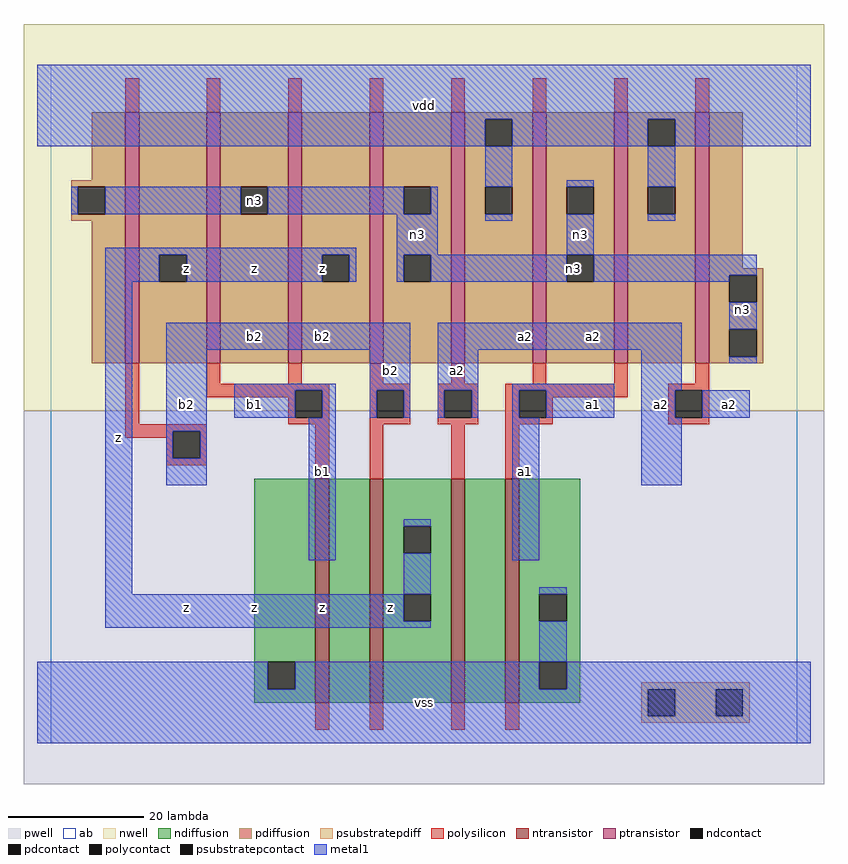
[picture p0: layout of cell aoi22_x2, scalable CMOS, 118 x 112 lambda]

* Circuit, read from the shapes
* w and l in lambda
.subckt aoi22_x2 a1 a2 b1 b2 n3 vdd vss z
M1 n1 b1 vss vss nfet w=33 l=2
M2 z b2 n1 vss nfet w=33 l=2
M3 n2 a2 z vss nfet w=33 l=2
M4 vss a1 n2 vss nfet w=33 l=2
M5 z b2 n3 n4 pfet w=37 l=2 m=2
M6 n3 b1 z n4 pfet w=37 l=2 m=2
M7 vdd a2 n3 n4 pfet w=37 l=2 m=2
M8 n3 a1 vdd n4 pfet w=37 l=2 m=2
.ends

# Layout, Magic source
magic
tech scmos
<< ab >>
rect 0 0 110 100
<< pwell >>
rect -4 -6 114 49
<< nwell >>
rect -4 49 114 106
<< polysilicon >>
rect 11 93 13 98
rect 23 93 25 98
rect 35 93 37 98
rect 47 93 49 98
rect 59 93 61 98
rect 71 93 73 98
rect 83 93 85 98
rect 95 93 97 98
rect 11 47 13 56
rect 23 53 25 56
rect 35 53 37 56
rect 47 53 49 56
rect 59 53 61 56
rect 71 53 73 56
rect 83 53 85 56
rect 95 53 97 56
rect 23 52 41 53
rect 23 51 36 52
rect 35 48 36 51
rect 40 48 41 52
rect 35 47 41 48
rect 11 46 23 47
rect 11 45 18 46
rect 17 42 18 45
rect 22 42 23 46
rect 17 41 23 42
rect 39 39 41 47
rect 47 52 53 53
rect 47 48 48 52
rect 52 48 53 52
rect 47 47 53 48
rect 57 52 63 53
rect 57 48 58 52
rect 62 48 63 52
rect 57 47 63 48
rect 67 52 85 53
rect 67 48 69 52
rect 73 51 85 52
rect 91 52 97 53
rect 73 48 74 51
rect 67 47 74 48
rect 91 48 92 52
rect 96 48 97 52
rect 91 47 97 48
rect 47 39 49 47
rect 59 39 61 47
rect 67 39 69 47
rect 39 2 41 6
rect 47 2 49 6
rect 59 2 61 6
rect 67 2 69 6
<< ndiffusion >>
rect 30 12 39 39
rect 30 8 32 12
rect 36 8 39 12
rect 30 6 39 8
rect 41 6 47 39
rect 49 32 59 39
rect 49 28 52 32
rect 56 28 59 32
rect 49 22 59 28
rect 49 18 52 22
rect 56 18 59 22
rect 49 6 59 18
rect 61 6 67 39
rect 69 22 78 39
rect 69 18 72 22
rect 76 18 78 22
rect 69 12 78 18
rect 69 8 72 12
rect 76 8 78 12
rect 69 6 78 8
<< pdiffusion >>
rect 6 83 11 93
rect 3 82 11 83
rect 3 78 4 82
rect 8 78 11 82
rect 3 77 11 78
rect 6 56 11 77
rect 13 72 23 93
rect 13 68 16 72
rect 20 68 23 72
rect 13 56 23 68
rect 25 82 35 93
rect 25 78 28 82
rect 32 78 35 82
rect 25 56 35 78
rect 37 72 47 93
rect 37 68 40 72
rect 44 68 47 72
rect 37 56 47 68
rect 49 82 59 93
rect 49 78 52 82
rect 56 78 59 82
rect 49 72 59 78
rect 49 68 52 72
rect 56 68 59 72
rect 49 56 59 68
rect 61 92 71 93
rect 61 88 64 92
rect 68 88 71 92
rect 61 82 71 88
rect 61 78 64 82
rect 68 78 71 82
rect 61 56 71 78
rect 73 82 83 93
rect 73 78 76 82
rect 80 78 83 82
rect 73 72 83 78
rect 73 68 76 72
rect 80 68 83 72
rect 73 56 83 68
rect 85 92 95 93
rect 85 88 88 92
rect 92 88 95 92
rect 85 82 95 88
rect 85 78 88 82
rect 92 78 95 82
rect 85 56 95 78
rect 97 70 102 93
rect 97 69 105 70
rect 97 65 100 69
rect 104 65 105 69
rect 97 61 105 65
rect 97 57 100 61
rect 104 57 105 61
rect 97 56 105 57
<< metal1 >>
rect -2 92 112 100
rect -2 88 64 92
rect 68 88 88 92
rect 92 88 112 92
rect 64 82 68 88
rect 3 78 4 82
rect 8 78 28 82
rect 32 78 52 82
rect 56 78 57 82
rect 8 72 45 73
rect 8 68 16 72
rect 20 68 40 72
rect 44 68 45 72
rect 51 72 57 78
rect 64 77 68 78
rect 76 82 80 83
rect 76 72 80 78
rect 88 82 92 88
rect 88 77 92 78
rect 51 68 52 72
rect 56 68 76 72
rect 80 69 104 72
rect 80 68 100 69
rect 8 22 12 68
rect 17 58 53 62
rect 17 46 23 58
rect 27 52 42 53
rect 27 48 36 52
rect 40 48 42 52
rect 47 52 53 58
rect 47 48 48 52
rect 52 48 53 52
rect 57 58 93 62
rect 57 52 63 58
rect 57 48 58 52
rect 62 48 63 52
rect 68 52 83 53
rect 68 48 69 52
rect 73 48 83 52
rect 87 52 93 58
rect 100 61 104 65
rect 100 56 104 57
rect 87 48 92 52
rect 96 48 103 52
rect 17 42 18 46
rect 22 42 23 46
rect 17 38 23 42
rect 38 27 42 48
rect 52 32 56 33
rect 52 22 56 28
rect 68 27 72 48
rect 87 38 93 48
rect 8 18 52 22
rect 8 17 56 18
rect 72 22 76 23
rect 72 12 76 18
rect -2 8 32 12
rect 36 8 72 12
rect 76 8 112 12
rect -2 0 112 8
<< ntransistor >>
rect 39 6 41 39
rect 47 6 49 39
rect 59 6 61 39
rect 67 6 69 39
<< ptransistor >>
rect 11 56 13 93
rect 23 56 25 93
rect 35 56 37 93
rect 47 56 49 93
rect 59 56 61 93
rect 71 56 73 93
rect 83 56 85 93
rect 95 56 97 93
<< polycontact >>
rect 36 48 40 52
rect 18 42 22 46
rect 48 48 52 52
rect 58 48 62 52
rect 69 48 73 52
rect 92 48 96 52
<< ndcontact >>
rect 32 8 36 12
rect 52 28 56 32
rect 52 18 56 22
rect 72 18 76 22
rect 72 8 76 12
<< pdcontact >>
rect 4 78 8 82
rect 16 68 20 72
rect 28 78 32 82
rect 40 68 44 72
rect 52 78 56 82
rect 52 68 56 72
rect 64 88 68 92
rect 64 78 68 82
rect 76 78 80 82
rect 76 68 80 72
rect 88 88 92 92
rect 88 78 92 82
rect 100 65 104 69
rect 100 57 104 61
<< psubstratepcontact >>
rect 88 4 92 8
rect 98 4 102 8
<< psubstratepdiff >>
rect 87 8 103 9
rect 87 4 88 8
rect 92 4 98 8
rect 102 4 103 8
rect 87 3 103 4
<< labels >>
rlabel metal1 10 45 10 45 6 z
rlabel metal1 10 45 10 45 6 z
rlabel metal1 40 20 40 20 6 z
rlabel metal1 30 20 30 20 6 z
rlabel metal1 30 20 30 20 6 z
rlabel metal1 40 20 40 20 6 z
rlabel metal1 20 20 20 20 6 z
rlabel metal1 20 20 20 20 6 z
rlabel metal1 40 40 40 40 6 b1
rlabel metal1 40 40 40 40 6 b1
rlabel metal1 20 50 20 50 6 b2
rlabel metal1 20 50 20 50 6 b2
rlabel metal1 30 50 30 50 6 b1
rlabel metal1 30 50 30 50 6 b1
rlabel metal1 40 60 40 60 6 b2
rlabel metal1 30 60 30 60 6 b2
rlabel metal1 30 60 30 60 6 b2
rlabel metal1 40 60 40 60 6 b2
rlabel metal1 20 70 20 70 6 z
rlabel metal1 20 70 20 70 6 z
rlabel metal1 40 70 40 70 6 z
rlabel metal1 30 70 30 70 6 z
rlabel metal1 40 70 40 70 6 z
rlabel metal1 30 70 30 70 6 z
rlabel metal1 55 6 55 6 6 vss
rlabel metal1 55 6 55 6 6 vss
rlabel metal1 50 20 50 20 6 z
rlabel metal1 50 20 50 20 6 z
rlabel metal1 60 55 60 55 6 a2
rlabel metal1 50 55 50 55 6 b2
rlabel metal1 50 55 50 55 6 b2
rlabel metal1 60 55 60 55 6 a2
rlabel metal1 54 75 54 75 6 n3
rlabel pdcontact 30 80 30 80 6 n3
rlabel metal1 55 94 55 94 6 vdd
rlabel metal1 55 94 55 94 6 vdd
rlabel metal1 70 40 70 40 6 a1
rlabel metal1 70 40 70 40 6 a1
rlabel metal1 80 50 80 50 6 a1
rlabel metal1 80 50 80 50 6 a1
rlabel metal1 80 60 80 60 6 a2
rlabel metal1 80 60 80 60 6 a2
rlabel metal1 70 60 70 60 6 a2
rlabel metal1 70 60 70 60 6 a2
rlabel metal1 78 75 78 75 6 n3
rlabel metal1 90 50 90 50 6 a2
rlabel metal1 90 50 90 50 6 a2
rlabel metal1 100 50 100 50 6 a2
rlabel metal1 100 50 100 50 6 a2
rlabel metal1 102 64 102 64 6 n3
rlabel pdcontact 77 70 77 70 6 n3
<< end >>
